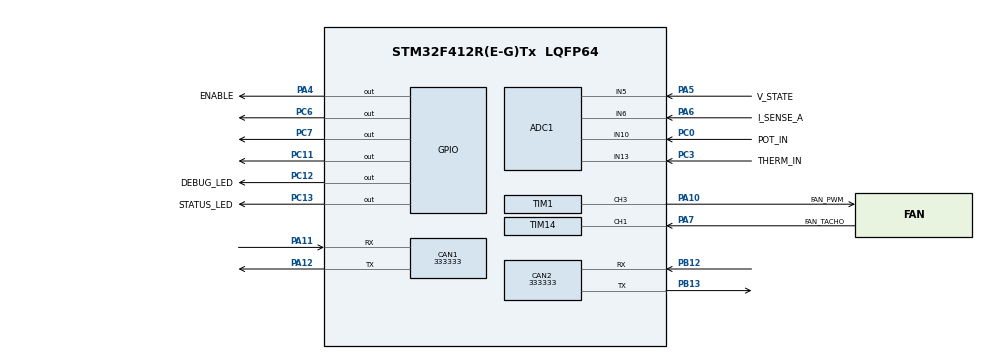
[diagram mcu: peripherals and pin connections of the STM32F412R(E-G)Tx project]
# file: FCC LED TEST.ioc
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ADC1.Channel-0\#ChannelRegularConversion=ADC_CHANNEL_5
ADC1.ContinuousConvMode=ENABLE
ADC1.DMAContinuousRequests=ENABLE
ADC1.NbrOfConversionFlag=1
ADC1.Rank-0\#ChannelRegularConversion=1
ADC1.SamplingTime-0\#ChannelRegularConversion=ADC_SAMPLETIME_3CYCLES
ADC1.master=1
CAN1.CalculateBaudRate=333333
CAN1.CalculateTimeBit=3000
CAN1.CalculateTimeQuantum=1000.0
CAN2.CalculateBaudRate=333333
CAN2.CalculateTimeBit=3000
CAN2.CalculateTimeQuantum=1000.0
Dma.ADC1.0.Direction=DMA_PERIPH_TO_MEMORY
Dma.ADC1.0.FIFOMode=DMA_FIFOMODE_DISABLE
Dma.ADC1.0.Instance=DMA2_Stream0
Dma.ADC1.0.MemDataAlignment=DMA_MDATAALIGN_HALFWORD
Dma.ADC1.0.MemInc=DMA_MINC_ENABLE
Dma.ADC1.0.Mode=DMA_CIRCULAR
Dma.ADC1.0.PeriphDataAlignment=DMA_PDATAALIGN_HALFWORD
Dma.ADC1.0.PeriphInc=DMA_PINC_DISABLE
Dma.ADC1.0.Priority=DMA_PRIORITY_LOW
Dma.Request0=ADC1
Mcu.Family=STM32F4
Mcu.Name=STM32F412R(E-G)Tx
Mcu.Package=LQFP64
NVIC.DMA2_Stream0_IRQn=true\:0\:0\:false\:false\:true\:false\:true\:true
NVIC.PriorityGroup=NVIC_PRIORITYGROUP_4
PA10.GPIO_Label=FAN_PWM
PA10.Signal=S_TIM1_CH3
PA11.Mode=CAN_Activate
PA11.Signal=CAN1_RX
PA12.Mode=CAN_Activate
PA12.Signal=CAN1_TX
PA13.Signal=SYS_JTMS-SWDIO
PA14.Signal=SYS_JTCK-SWCLK
PA4.GPIO_Label=ENABLE
PA4.Signal=GPIO_Output
PA5.GPIO_Label=V_STATE
PA5.Signal=ADCx_IN5
PA6.GPIO_Label=I_SENSE_A
PA6.Signal=ADCx_IN6
PA7.GPIO_Label=FAN_TACHO
PA7.Signal=S_TIM14_CH1
PB10.Signal=I2C2_SCL
PB12.Mode=CAN_Activate
PB12.Signal=CAN2_RX
PB13.Mode=CAN_Activate
PB13.Signal=CAN2_TX
PB14.Signal=FMPI2C1_SDA
PB3.Signal=SYS_JTDO-SWO
PB9.Signal=I2C2_SDA
PC0.GPIO_Label=POT_IN
PC0.Signal=ADCx_IN10
PC11.Signal=GPIO_Output
PC12.GPIO_Label=DEBUG_LED
PC12.Signal=GPIO_Output
PC13.GPIO_Label=STATUS_LED
PC13.Signal=GPIO_Output
PC3.GPIO_Label=THERM_IN
PC3.Signal=ADCx_IN13
PC6.Signal=GPIO_Output
PC7.Signal=GPIO_Output
PH0\ -\ OSC_IN.Signal=RCC_OSC_IN
PH1\ -\ OSC_OUT.Signal=RCC_OSC_OUT
ProjectManager.HeapSize=0x200
ProjectManager.StackSize=0x400
ProjectManager.TargetToolchain=STM32CubeIDE
RCC.CortexFreq_Value=16000000
RCC.USBFreq_Value=96000000
RCC.VCOOutputFreq_Value=192000000
SH.ADCx_IN10.0=ADC1_IN10,IN10
SH.ADCx_IN13.0=ADC1_IN13,IN13
SH.ADCx_IN5.0=ADC1_IN5,IN5
SH.ADCx_IN6.0=ADC1_IN6,IN6
SH.S_TIM14_CH1.0=TIM14_CH1,Input_Capture1_from_TI1
SH.S_TIM1_CH3.0=TIM1_CH3,PWM Generation3 CH3
TIM1.Channel-PWM\ Generation3\ CH3=TIM_CHANNEL_3
TIM14.Channel=TIM_CHANNEL_1
VP_TIM14_VS_ClockSourceINT.Mode=Enable_Timer
VP_TIM1_VS_ClockSourceINT.Mode=Internal
board=custom

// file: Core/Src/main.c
/* USER CODE BEGIN Header */
/**
  ******************************************************************************
  * @file           : main.c
  * @brief          : Main program body
  ******************************************************************************
  * @attention
  *
  * Copyright (c) 2026 STMicroelectronics.
  * All rights reserved.
  *
  * This software is licensed under terms that can be found in the LICENSE file
  * in the root directory of this software component.
  * If no LICENSE file comes with this software, it is provided AS-IS.
  *
  ******************************************************************************
  */
/* USER CODE END Header */
#include "main.h"

/* USER CODE BEGIN PTD */
#include "motor_fan.h"
#include "can_driver.h"

// Set to 1 to accept any CAN ID on bus 1 and toggle DEBUG_LED on every
// received frame (bench validation without a DAQ/PDM on the bus yet).
// Set to 0 for the real 0x446-only filter + thermal control path.
#define CAN_TEST_MODE 1
/* USER CODE END PTD */

/* USER CODE BEGIN PD */
#define DEBUG_LED_PERIOD_MIN_MS   80u    // blink speed at full pot deflection
#define DEBUG_LED_PERIOD_MAX_MS   1000u  // blink speed at pot = 0

#define TEST_TX_PERIOD_MS         500u   // how often to send the test frame
#define TEST_TX_CAN_ID            0x123u // any ID - pick something you can spot on the injector
/* USER CODE END PD */

ADC_HandleTypeDef hadc1;
DMA_HandleTypeDef hdma_adc1;

CAN_HandleTypeDef hcan1;
CAN_HandleTypeDef hcan2;

TIM_HandleTypeDef htim1;
TIM_HandleTypeDef htim14;

/* USER CODE BEGIN PV */
static CAN_Driver_t can_drv;
static MotorFan_t   motor_fan;

static uint16_t heartbeat_counter = 0;
static uint32_t debug_led_last_toggle = 0;

static uint32_t test_tx_last_send = 0;
static uint8_t  test_tx_counter = 0;   // increments each send so you can spot drops/order on a sniffer

/* USER CODE END PV */

void SystemClock_Config(void);
static void MX_GPIO_Init(void);
static void MX_DMA_Init(void);
static void MX_ADC1_Init(void);
static void MX_CAN1_Init(void);
static void MX_CAN2_Init(void);
static void MX_TIM1_Init(void);
static void MX_TIM14_Init(void);
/* USER CODE BEGIN PFP */
//atic void DebugLED_UpdateBlink(MotorFan_t *mf);

/* USER CODE END PFP */

/* USER CODE BEGIN 0 */
static void DebugLED_UpdateBlink(MotorFan_t *mf)
{
    // Faster the fan needs to spin, the faster the debug LED blinks.
    float duty = MotorFan_GetDuty(mf);
    uint32_t period_ms = DEBUG_LED_PERIOD_MAX_MS -
        (uint32_t)(duty * (float)(DEBUG_LED_PERIOD_MAX_MS - DEBUG_LED_PERIOD_MIN_MS));

    uint32_t now = HAL_GetTick();
    if ((now - debug_led_last_toggle) >= period_ms)
    {
        HAL_GPIO_TogglePin(DEBUG_LED_GPIO_Port, DEBUG_LED_Pin);
        debug_led_last_toggle = now;
    }
}

static void TestTx_SendPeriodic(void)
{
    uint32_t now = HAL_GetTick();
    if ((now - test_tx_last_send) < TEST_TX_PERIOD_MS) return;
    test_tx_last_send = now;

    can_drv.id  = TEST_TX_CAN_ID;
    can_drv.len = 1;
    can_drv.tx_data[0] = test_tx_counter++;

    if (CAN_Transmit2(&can_drv) != HAL_OK)
    {
        // TX mailboxes full, or transmit failed - fine to ignore on the bench,
        // but this is where you'd toggle a fault indicator if you wanted one.
    }
}
/* USER CODE END 0 */

int main(void)
{

  /* MCU Configuration--------------------------------------------------------*/

  /* Reset of all peripherals, Initializes the Flash interface and the Systick. */
  HAL_Init();

  /* Configure the system clock */
  SystemClock_Config();

  /* Initialize all configured peripherals */
  MX_GPIO_Init();
  MX_DMA_Init();
  MX_ADC1_Init();
  MX_CAN1_Init();
  MX_CAN2_Init();
  MX_TIM1_Init();
  MX_TIM14_Init();
  /* USER CODE BEGIN 2 */

  if (CAN_InitDriver(&can_drv) != HAL_OK)
  {
      Error_Handler();
  }

#if CAN_TEST_MODE
  if (CAN_ConfigCatchAllFilter(can_drv.hcan1) != HAL_OK)
  {
      Error_Handler();
  }
#else
  if (CAN_ConfigMotorTempFilter(can_drv.hcan1) != HAL_OK)
  {
      Error_Handler();
  }
#endif

  MotorFan_Init(&motor_fan);

  if (HAL_TIM_PWM_Start(&htim1, TIM_CHANNEL_3) != HAL_OK)
  {
      for (int i = 0; i < 2; i++) {
          HAL_GPIO_TogglePin(STATUS_LED_GPIO_Port, STATUS_LED_Pin);
          HAL_Delay(1000);
          HAL_GPIO_TogglePin(STATUS_LED_GPIO_Port, STATUS_LED_Pin);
          HAL_Delay(100);
      }
      while (1) {}
  }

  /* USER CODE END 2 */

  /* Infinite loop */
  /* USER CODE BEGIN WHILE */
  while (1)
  {
      TestTx_SendPeriodic();

	  CAN_RxStatus_t rx_status = CAN_Receive1(&can_drv);

	  #if CAN_TEST_MODE
      // Any frame at all - toggle immediately, ignore ID/content.
      if (rx_status == CAN_RX_OK || rx_status == CAN_RX_WRONG_ID)
      {
          HAL_GPIO_TogglePin(DEBUG_LED_GPIO_Port, DEBUG_LED_Pin);

          // Echo the received frame straight back out on CAN1.
          can_drv.id  = can_drv.rx1.StdId;
          can_drv.len = can_drv.rx1.DLC;
          memcpy(can_drv.tx_data, can_drv.rx_data, can_drv.rx1.DLC);

          CAN_Transmit1(&can_drv);
      }
#else
	        if (rx_status == CAN_RX_OK){
	        {
	            uint16_t deserialized[4] = {0};
	            CAN_16Bit_Deserializer(deserialized, can_drv.rx_data);
	            MotorFan_UpdateTemp(&motor_fan, (float)deserialized[0]);
	        }
	        MotorFan_CheckStale(&motor_fan);

	        float duty = MotorFan_GetDuty(&motor_fan);
	        __HAL_TIM_SET_COMPARE(&htim1, TIM_CHANNEL_3,
	                               (uint32_t)(duty * (float)PWM_RESOLUTION));

	        DebugLED_UpdateBlink(&motor_fan);
	        }
	  #endif

	        if (++heartbeat_counter >= 50000)
	        {
	            HAL_GPIO_TogglePin(STATUS_LED_GPIO_Port, STATUS_LED_Pin);
	            heartbeat_counter = 0;
	        }

    /* USER CODE END WHILE */

  }
}

void SystemClock_Config(void)
{
  RCC_OscInitTypeDef RCC_OscInitStruct = {0};
  RCC_ClkInitTypeDef RCC_ClkInitStruct = {0};

  /** Configure the main internal regulator output voltage
  */
  __HAL_RCC_PWR_CLK_ENABLE();
  __HAL_PWR_VOLTAGESCALING_CONFIG(PWR_REGULATOR_VOLTAGE_SCALE1);

  /** Initializes the RCC Oscillators according to the specified parameters
  * in the RCC_OscInitTypeDef structure.
  */
  RCC_OscInitStruct.OscillatorType = RCC_OSCILLATORTYPE_HSI;
  RCC_OscInitStruct.HSIState = RCC_HSI_ON;
  RCC_OscInitStruct.HSICalibrationValue = RCC_HSICALIBRATION_DEFAULT;
  RCC_OscInitStruct.PLL.PLLState = RCC_PLL_NONE;
  if (HAL_RCC_OscConfig(&RCC_OscInitStruct) != HAL_OK)
  {
    Error_Handler();
  }

  /** Initializes the CPU, AHB and APB buses clocks
  */
  RCC_ClkInitStruct.ClockType = RCC_CLOCKTYPE_HCLK|RCC_CLOCKTYPE_SYSCLK
                              |RCC_CLOCKTYPE_PCLK1|RCC_CLOCKTYPE_PCLK2;
  RCC_ClkInitStruct.SYSCLKSource = RCC_SYSCLKSOURCE_HSI;
  RCC_ClkInitStruct.AHBCLKDivider = RCC_SYSCLK_DIV1;
  RCC_ClkInitStruct.APB1CLKDivider = RCC_HCLK_DIV1;
  RCC_ClkInitStruct.APB2CLKDivider = RCC_HCLK_DIV1;

  if (HAL_RCC_ClockConfig(&RCC_ClkInitStruct, FLASH_LATENCY_0) != HAL_OK)
  {
    Error_Handler();
  }
}

static void MX_ADC1_Init(void)
{

  ADC_ChannelConfTypeDef sConfig = {0};

  /** Configure the global features of the ADC (Clock, Resolution, Data Alignment and number of conversion)
  */
  hadc1.Instance = ADC1;
  hadc1.Init.ClockPrescaler = ADC_CLOCK_SYNC_PCLK_DIV2;
  hadc1.Init.Resolution = ADC_RESOLUTION_12B;
  hadc1.Init.ScanConvMode = DISABLE;
  hadc1.Init.ContinuousConvMode = ENABLE;
  hadc1.Init.DiscontinuousConvMode = DISABLE;
  hadc1.Init.ExternalTrigConvEdge = ADC_EXTERNALTRIGCONVEDGE_NONE;
  hadc1.Init.ExternalTrigConv = ADC_SOFTWARE_START;
  hadc1.Init.DataAlign = ADC_DATAALIGN_RIGHT;
  hadc1.Init.NbrOfConversion = 1;
  hadc1.Init.DMAContinuousRequests = ENABLE;
  hadc1.Init.EOCSelection = ADC_EOC_SINGLE_CONV;
  if (HAL_ADC_Init(&hadc1) != HAL_OK)
  {
    Error_Handler();
  }

  /** Configure for the selected ADC regular channel its corresponding rank in the sequencer and its sample time.
  */
  sConfig.Channel = ADC_CHANNEL_10;
  sConfig.Rank = 1;
  sConfig.SamplingTime = ADC_SAMPLETIME_15CYCLES;
  if (HAL_ADC_ConfigChannel(&hadc1, &sConfig) != HAL_OK)
  {
    Error_Handler();
  }

}

static void MX_CAN1_Init(void)
{

  hcan1.Instance = CAN1;
  hcan1.Init.Prescaler = 2;
  hcan1.Init.Mode = CAN_MODE_NORMAL;
  hcan1.Init.SyncJumpWidth = CAN_SJW_1TQ;
  hcan1.Init.TimeSeg1 = CAN_BS1_13TQ;
  hcan1.Init.TimeSeg2 = CAN_BS2_2TQ;
  hcan1.Init.TimeTriggeredMode = DISABLE;
  hcan1.Init.AutoBusOff = DISABLE;
  hcan1.Init.AutoWakeUp = DISABLE;
  hcan1.Init.AutoRetransmission = DISABLE;
  hcan1.Init.ReceiveFifoLocked = DISABLE;
  hcan1.Init.TransmitFifoPriority = DISABLE;
  if (HAL_CAN_Init(&hcan1) != HAL_OK)
  {
    Error_Handler();
  }

}

static void MX_CAN2_Init(void)
{

  hcan2.Instance = CAN2;
  hcan2.Init.Prescaler = 2;
  hcan2.Init.Mode = CAN_MODE_NORMAL;
  hcan2.Init.SyncJumpWidth = CAN_SJW_1TQ;
  hcan2.Init.TimeSeg1 = CAN_BS1_13TQ;
  hcan2.Init.TimeSeg2 = CAN_BS2_2TQ;
  hcan2.Init.TimeTriggeredMode = DISABLE;
  hcan2.Init.AutoBusOff = DISABLE;
  hcan2.Init.AutoWakeUp = DISABLE;
  hcan2.Init.AutoRetransmission = DISABLE;
  hcan2.Init.ReceiveFifoLocked = DISABLE;
  hcan2.Init.TransmitFifoPriority = DISABLE;
  if (HAL_CAN_Init(&hcan2) != HAL_OK)
  {
    Error_Handler();
  }

}

static void MX_TIM1_Init(void)
{

  TIM_ClockConfigTypeDef sClockSourceConfig = {0};
  TIM_MasterConfigTypeDef sMasterConfig = {0};
  TIM_OC_InitTypeDef sConfigOC = {0};
  TIM_BreakDeadTimeConfigTypeDef sBreakDeadTimeConfig = {0};

  htim1.Instance = TIM1;
  htim1.Init.Prescaler = 0;
  htim1.Init.CounterMode = TIM_COUNTERMODE_UP;
  htim1.Init.Period = 649;
  htim1.Init.ClockDivision = TIM_CLOCKDIVISION_DIV1;
  htim1.Init.RepetitionCounter = 0;
  htim1.Init.AutoReloadPreload = TIM_AUTORELOAD_PRELOAD_DISABLE;
  if (HAL_TIM_Base_Init(&htim1) != HAL_OK)
  {
    Error_Handler();
  }
  sClockSourceConfig.ClockSource = TIM_CLOCKSOURCE_INTERNAL;
  if (HAL_TIM_ConfigClockSource(&htim1, &sClockSourceConfig) != HAL_OK)
  {
    Error_Handler();
  }
  if (HAL_TIM_PWM_Init(&htim1) != HAL_OK)
  {
    Error_Handler();
  }
  sMasterConfig.MasterOutputTrigger = TIM_TRGO_RESET;
  sMasterConfig.MasterSlaveMode = TIM_MASTERSLAVEMODE_DISABLE;
  if (HAL_TIMEx_MasterConfigSynchronization(&htim1, &sMasterConfig) != HAL_OK)
  {
    Error_Handler();
  }
  sConfigOC.OCMode = TIM_OCMODE_PWM1;
  sConfigOC.Pulse = 0;
  sConfigOC.OCPolarity = TIM_OCPOLARITY_HIGH;
  sConfigOC.OCNPolarity = TIM_OCNPOLARITY_HIGH;
  sConfigOC.OCFastMode = TIM_OCFAST_DISABLE;
  sConfigOC.OCIdleState = TIM_OCIDLESTATE_RESET;
  sConfigOC.OCNIdleState = TIM_OCNIDLESTATE_RESET;
  if (HAL_TIM_PWM_ConfigChannel(&htim1, &sConfigOC, TIM_CHANNEL_3) != HAL_OK)
  {
    Error_Handler();
  }
  sBreakDeadTimeConfig.OffStateRunMode = TIM_OSSR_DISABLE;
  sBreakDeadTimeConfig.OffStateIDLEMode = TIM_OSSI_DISABLE;
  sBreakDeadTimeConfig.LockLevel = TIM_LOCKLEVEL_OFF;
  sBreakDeadTimeConfig.DeadTime = 0;
  sBreakDeadTimeConfig.BreakState = TIM_BREAK_DISABLE;
  sBreakDeadTimeConfig.BreakPolarity = TIM_BREAKPOLARITY_HIGH;
  sBreakDeadTimeConfig.AutomaticOutput = TIM_AUTOMATICOUTPUT_DISABLE;
  if (HAL_TIMEx_ConfigBreakDeadTime(&htim1, &sBreakDeadTimeConfig) != HAL_OK)
  {
    Error_Handler();
  }
  HAL_TIM_MspPostInit(&htim1);

}

static void MX_TIM14_Init(void)
{

  TIM_IC_InitTypeDef sConfigIC = {0};

  htim14.Instance = TIM14;
  htim14.Init.Prescaler = 0;
  htim14.Init.CounterMode = TIM_COUNTERMODE_UP;
  htim14.Init.Period = 65535;
  htim14.Init.ClockDivision = TIM_CLOCKDIVISION_DIV1;
  htim14.Init.AutoReloadPreload = TIM_AUTORELOAD_PRELOAD_DISABLE;
  if (HAL_TIM_Base_Init(&htim14) != HAL_OK)
  {
    Error_Handler();
  }
  if (HAL_TIM_IC_Init(&htim14) != HAL_OK)
  {
    Error_Handler();
  }
  sConfigIC.ICPolarity = TIM_INPUTCHANNELPOLARITY_RISING;
  sConfigIC.ICSelection = TIM_ICSELECTION_DIRECTTI;
  sConfigIC.ICPrescaler = TIM_ICPSC_DIV1;
  sConfigIC.ICFilter = 0;
  if (HAL_TIM_IC_ConfigChannel(&htim14, &sConfigIC, TIM_CHANNEL_1) != HAL_OK)
  {
    Error_Handler();
  }

}

static void MX_DMA_Init(void)
{

  /* DMA controller clock enable */
  __HAL_RCC_DMA2_CLK_ENABLE();

  /* DMA interrupt init */
  /* DMA2_Stream0_IRQn interrupt configuration */
  HAL_NVIC_SetPriority(DMA2_Stream0_IRQn, 0, 0);
  HAL_NVIC_EnableIRQ(DMA2_Stream0_IRQn);

}

static void MX_GPIO_Init(void)
{
  GPIO_InitTypeDef GPIO_InitStruct = {0};

  /* GPIO Ports Clock Enable */
  __HAL_RCC_GPIOC_CLK_ENABLE();
  __HAL_RCC_GPIOH_CLK_ENABLE();
  __HAL_RCC_GPIOA_CLK_ENABLE();
  __HAL_RCC_GPIOB_CLK_ENABLE();

  /*Configure GPIO pin Output Level */
  HAL_GPIO_WritePin(GPIOC, STATUS_LED_Pin|GPIO_PIN_6|GPIO_PIN_7|GPIO_PIN_11
                          |DEBUG_LED_Pin, GPIO_PIN_RESET);

  /*Configure GPIO pin Output Level */
  HAL_GPIO_WritePin(ENABLE_GPIO_Port, ENABLE_Pin, GPIO_PIN_RESET);

  /*Configure GPIO pins : STATUS_LED_Pin PC6 PC7 PC11
                           DEBUG_LED_Pin */
  GPIO_InitStruct.Pin = STATUS_LED_Pin|GPIO_PIN_6|GPIO_PIN_7|GPIO_PIN_11
                          |DEBUG_LED_Pin;
  GPIO_InitStruct.Mode = GPIO_MODE_OUTPUT_PP;
  GPIO_InitStruct.Pull = GPIO_NOPULL;
  GPIO_InitStruct.Speed = GPIO_SPEED_FREQ_LOW;
  HAL_GPIO_Init(GPIOC, &GPIO_InitStruct);

  /*Configure GPIO pin : ENABLE_Pin */
  GPIO_InitStruct.Pin = ENABLE_Pin;
  GPIO_InitStruct.Mode = GPIO_MODE_OUTPUT_PP;
  GPIO_InitStruct.Pull = GPIO_NOPULL;
  GPIO_InitStruct.Speed = GPIO_SPEED_FREQ_LOW;
  HAL_GPIO_Init(ENABLE_GPIO_Port, &GPIO_InitStruct);

  /*Configure GPIO pin : PB10 */
  GPIO_InitStruct.Pin = GPIO_PIN_10;
  GPIO_InitStruct.Mode = GPIO_MODE_AF_OD;
  GPIO_InitStruct.Pull = GPIO_NOPULL;
  GPIO_InitStruct.Speed = GPIO_SPEED_FREQ_VERY_HIGH;
  GPIO_InitStruct.Alternate = GPIO_AF4_I2C2;
  HAL_GPIO_Init(GPIOB, &GPIO_InitStruct);

  /*Configure GPIO pin : PB14 */
  GPIO_InitStruct.Pin = GPIO_PIN_14;
  GPIO_InitStruct.Mode = GPIO_MODE_AF_OD;
  GPIO_InitStruct.Pull = GPIO_PULLUP;
  GPIO_InitStruct.Speed = GPIO_SPEED_FREQ_VERY_HIGH;
  GPIO_InitStruct.Alternate = GPIO_AF4_FMPI2C1;
  HAL_GPIO_Init(GPIOB, &GPIO_InitStruct);

  /*Configure GPIO pin : PB9 */
  GPIO_InitStruct.Pin = GPIO_PIN_9;
  GPIO_InitStruct.Mode = GPIO_MODE_AF_OD;
  GPIO_InitStruct.Pull = GPIO_NOPULL;
  GPIO_InitStruct.Speed = GPIO_SPEED_FREQ_VERY_HIGH;
  GPIO_InitStruct.Alternate = GPIO_AF9_I2C2;
  HAL_GPIO_Init(GPIOB, &GPIO_InitStruct);

}

void Error_Handler(void)
{
  __disable_irq();
  while (1)
  {
  }
}
